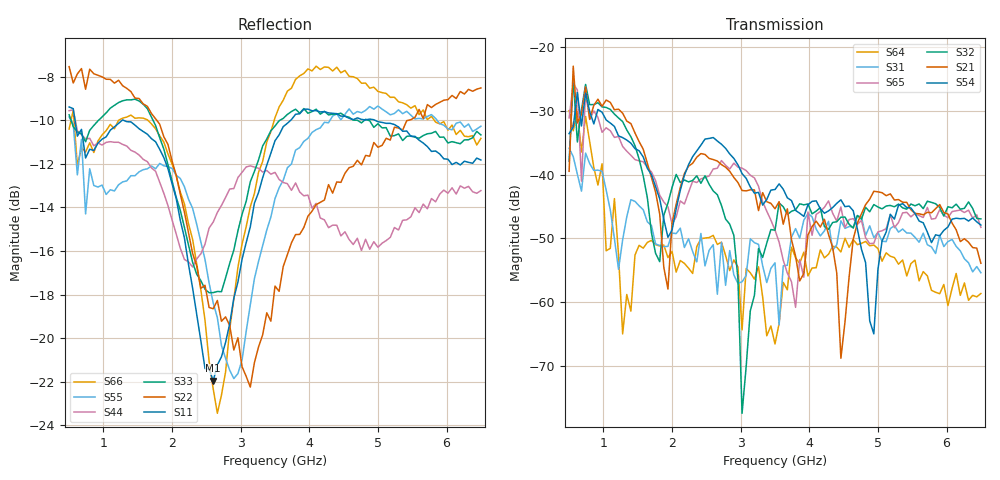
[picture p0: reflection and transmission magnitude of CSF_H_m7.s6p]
!Keysight Technologies,M9804A,MY58100912,A.14.10.03
!Date: Thursday, April 27, 2023 10:28:33
!Correction: S11(C  6-Port  )
!S12(C  6-Port  )
!S13(C  6-Port  )
!S14(C  6-Port  )
!S15(C  6-Port  )
!S16(C  6-Port  )
!S21(C  6-Port  )
!S22(C  6-Port  )
!S23(C  6-Port  )
!S24(C  6-Port  )
!S25(C  6-Port  )
!S26(C  6-Port  )
!S31(C  6-Port  )
!S32(C  6-Port  )
!S33(C  6-Port  )
!S34(C  6-Port  )
!S35(C  6-Port  )
!S36(C  6-Port  )
!S41(C  6-Port  )
!S42(C  6-Port  )
!S43(C  6-Port  )
!S44(C  6-Port  )
!S45(C  6-Port  )
!S46(C  6-Port  )
!S51(C  6-Port  )
!S52(C  6-Port  )
!S53(C  6-Port  )
!S54(C  6-Port  )
!S55(C  6-Port  )
!S56(C  6-Port  )
!S61(C  6-Port  )
!S62(C  6-Port  )
!S63(C  6-Port  )
!S64(C  6-Port  )
!S65(C  6-Port  )
!S66(C  6-Port  )
!S6P File: Measurement: :
# Hz S  RI  R 50
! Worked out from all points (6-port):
!   101 points, 500 MHz to 6.5 GHz, reference 50 ohm
!   strongest paths, dB at 500 MHz, 2 GHz, 3.5 GHz, 5 GHz, 6.5 GHz:
!     S54: -33.6, -48.7, -42.3, -54.9, -47.9
!     S21: -39.5, -47.6, -45.3, -42.7, -53.9
!     S32: -37.9, -42.0, -48.7, -45.1, -46.9
!     S65: -31.1, -47.7, -48.7, -49.0, -48.3
!     S31: -35.8, -49.2, -53.8, -49.1, -55.4
!     S64: -30.0, -52.0, -66.5, -51.6, -58.6
!   lowest |S11| = -22.0 dB at 2.6 GHz (marker M1), VSWR 1.17, Z = 42.8 + j1.91 ohm
!   |S11| at or under -10 dB: 585.3 MHz to 1.274 GHz (688.2 MHz wide, 74 % of centre); 1.293 GHz to 3.728 GHz (2.436 GHz wide, 97 % of centre); 4.957 GHz to end of sweep
